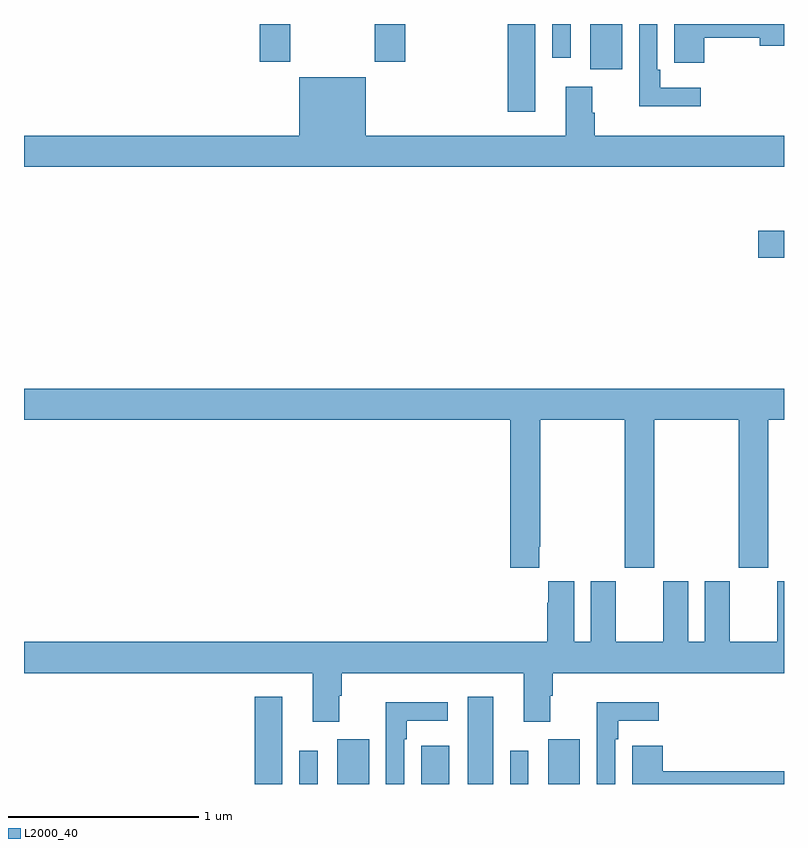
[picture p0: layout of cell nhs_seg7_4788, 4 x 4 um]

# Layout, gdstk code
import gdstk
lib = gdstk.Library(unit=1e-6, precision=1e-09)
def R(c, l, rs):  # rectangles x0, y0, x1, y1
    for r in rs: c.add(gdstk.rectangle(r[:2], r[2:], *l))
def P(c, l, *ps):  # polygons
    for p in ps: c.add(gdstk.Polygon(p, *l))
L2000_40 = (2000, 40)

nhs_seg7_4788 = lib.new_cell('nhs_seg7_4788')
R(nhs_seg7_4788, L2000_40, [(412.214,1032,412.36,1032.46), (412.449,1032,412.545,1032.175), (412.649,1032,412.816,1032.235), (413.09,1032,413.239,1032.202), (413.336,1032,413.47,1032.46), (413.559,1032,413.655,1032.175), (413.759,1032,413.926,1032.235), (414.864,1034.771,415,1034.913), (413.546,1035.537,413.692,1036), (413.981,1035.762,414.148,1036), (412.241,1035.801,412.401,1036), (412.846,1035.801,413.006,1036), (413.781,1035.822,413.877,1036)])
P(nhs_seg7_4788, L2000_40, [(414.579,1035.928),(414.872,1035.928),(414.872,1035.886),(415,1035.886),(415,1036),(414.422,1036),(414.422,1035.907),(414.423,1035.907),(414.423,1035.795),(414.579,1035.795)],
  [(414.562,1035.664),(414.349,1035.664),(414.349,1035.76),(414.333,1035.76),(414.333,1036),(414.237,1036),(414.237,1035.566),(414.562,1035.566)],
  [(415,1035.412),(414.005,1035.412),(414.005,1035.533),(413.992,1035.533),(413.992,1035.67),(413.852,1035.67),(413.852,1035.412),(412.798,1035.412),(412.798,1035.721),(412.448,1035.721),(412.448,1035.412),(411,1035.412),(411,1035.248),(415,1035.248)],
  [(411,1033.916),(413.558,1033.916),(413.558,1033.137),(413.713,1033.137),(413.713,1033.249),(413.718,1033.249),(413.718,1033.916),(414.163,1033.916),(414.163,1033.137),(414.318,1033.137),(414.318,1033.916),(414.763,1033.916),(414.763,1033.137),(414.918,1033.137),(414.918,1033.916),(415,1033.916),(415,1034.08),(411,1034.08)],
  [(412.66,1032.464),(412.673,1032.464),(412.673,1032.584),(413.63,1032.584),(413.63,1032.327),(413.77,1032.327),(413.77,1032.464),(413.783,1032.464),(413.783,1032.584),(415,1032.584),(415,1033.066),(414.965,1033.066),(414.965,1032.748),(414.715,1032.748),(414.715,1033.066),(414.584,1033.066),(414.584,1032.748),(414.496,1032.748),(414.496,1033.066),(414.365,1033.066),(414.365,1032.748),(414.115,1032.748),(414.115,1033.066),(413.984,1033.066),(413.984,1032.748),(413.896,1032.748),(413.896,1033.066),(413.759,1033.066),(413.759,1032.953),(413.753,1032.953),(413.753,1032.748),(411,1032.748),(411,1032.584),(412.52,1032.584),(412.52,1032.327),(412.66,1032.327)],
  [(414.111,1032.236),(414.127,1032.236),(414.127,1032.332),(414.34,1032.332),(414.34,1032.43),(414.015,1032.43),(414.015,1032),(414.111,1032)],
  [(413.001,1032.236),(413.014,1032.236),(413.014,1032.332),(413.23,1032.332),(413.23,1032.43),(412.905,1032.43),(412.905,1032),(413.001,1032)],
  [(415,1032.068),(414.362,1032.068),(414.362,1032.202),(414.201,1032.202),(414.201,1032.089),(414.2,1032.089),(414.2,1032),(415,1032)])

lib.write_gds('nhs_seg7_4788.gds')
